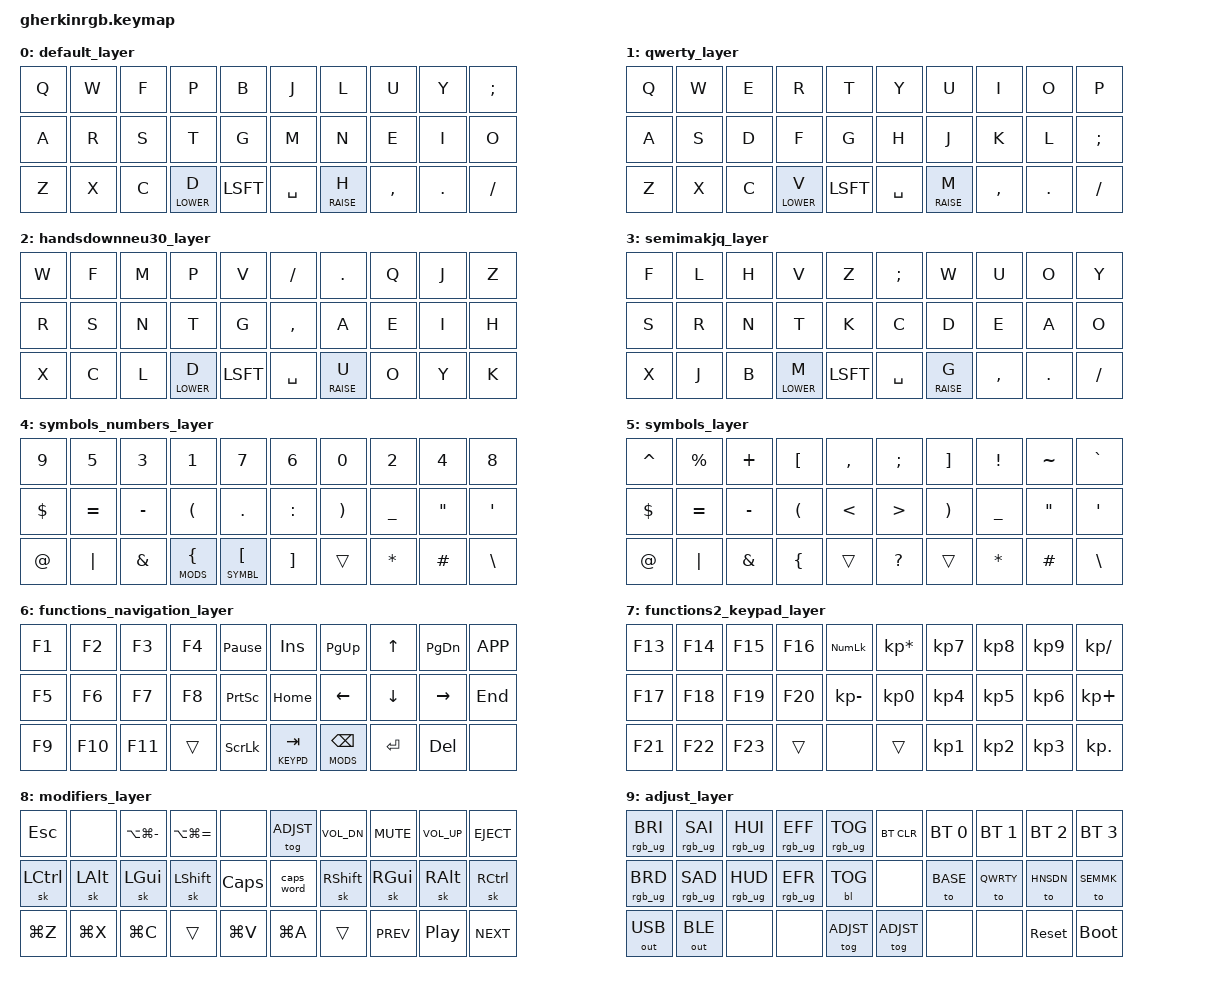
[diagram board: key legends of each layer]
/*
 * Copyright (c) 2021-22 purple-rw
 *
 * SPDX-License-Identifier: MIT
 */

#include <behaviors.dtsi>
#include <dt-bindings/zmk/keys.h>
#include <dt-bindings/zmk/bt.h>
#include <dt-bindings/zmk/outputs.h>
#include <dt-bindings/zmk/rgb.h>
#include <dt-bindings/zmk/backlight.h>

#define BASE  0     // alphas (Colemak-DH)
#define QWRTY 1     // alphas (Qwerty)
#define HNSDN 2     // alphas (Hands Down Neu 30)
#define SEMMK 3     // alphas (Semimak JQ)
#define RAISE 4     // symbols & numbers
#define SYMBL 5     // symbols
#define LOWER 6     // functions & navigation
#define KEYPD 7     // functions2 & keypad
#define MODS  8     // modifiers & multimedia
#define ADJST 9     // lighting & bluetooth

// Special keys
#define ZOOMOUT      LA(LG(MINUS))
#define ZOOMIN       LA(LG(EQUAL))
#define M_UNDO       LG(Z)
#define M_CUT        LG(X)
#define M_COPY       LG(C)
#define M_PASTE      LG(V)
#define M_SELALL     LG(A)
#define M_TMUX       LC(T)
#define NON_US_TILDE LS(NON_US_HASH)
#define NON_US_PIPE  LS(NON_US_BSLH)

&lt {
    tapping-term-ms = <200>;
    quick_tap_ms = <200>;
    flavor = "balanced";
};

&sk {
    release-after-ms = <3000>;
};

&caps_word {
    continue-list = <UNDERSCORE BACKSPACE DELETE MINUS DOT>;
};

/ {
    behaviors {
        combos {
            compatible = "zmk,combos";

// Layers (Horizontal Combos)
// -------------------------------------------------------------
// |     |     |     |     |     |     |     |     |     |     |
// |     |     |     |     |     |     |     |     |     |     |
// |     |     |     |Keypd|Symbl|Keypd|Symbl|     |     |     |
// -------------------------------------------------------------
            combo_symbl { timeout-ms = <50>; key-positions = <24 26>; bindings = <&mo SYMBL>; layers = <BASE QWRTY HNSDN SEMMK>; };
            combo_keypd { timeout-ms = <50>; key-positions = <23 25>; bindings = <&mo KEYPD>; layers = <BASE QWRTY HNSDN SEMMK>; };

// Colemak (Horizontal Combos)
// -------------------------------------------------------------
// |     |<-  Esc  ->|     |     |     |     |<- BkSpc ->|     |
// |     |     |     |<-   V   ->|<-   K   ->|     |     |     |
// |     |<-  Tab  ->|     |     |     |     |<- Enter ->|     |
// -------------------------------------------------------------
            combo_esc   { timeout-ms = <50>; key-positions = < 1  2>; bindings = <&kp ESC>;   layers = <BASE QWRTY HNSDN SEMMK>; };
            combo_tab   { timeout-ms = <50>; key-positions = <21 22>; bindings = <&kp TAB>;   layers = <BASE QWRTY HNSDN SEMMK>; };
            combo_bspc  { timeout-ms = <50>; key-positions = < 7  8>; bindings = <&kp BSPC>;  layers = <BASE QWRTY HNSDN SEMMK>; };
            combo_enter { timeout-ms = <50>; key-positions = <27 28>; bindings = <&kp ENTER>; layers = <BASE QWRTY HNSDN SEMMK>; };
            combo_v     { timeout-ms = <50>; key-positions = <13 14>; bindings = <&kp V>;     layers = <BASE>; };
            combo_k     { timeout-ms = <50>; key-positions = <15 16>; bindings = <&kp K>;     layers = <BASE>; };

// Qwerty (Horizontal Combos)
// -------------------------------------------------------------
// |     |<-  Esc  ->|     |     |     |     |<- BkSpc ->|     |
// |     |     |     |<-   B   ->|<-   N   ->|     |     |     |
// |     |<-  Tab  ->|     |     |     |     |<- Enter ->|     |
// -------------------------------------------------------------
            combo_b     { timeout-ms = <50>; key-positions = <13 14>; bindings = <&kp B>;     layers = <QWRTY HNSDN>; };
            combo_n     { timeout-ms = <50>; key-positions = <15 16>; bindings = <&kp N>;     layers = <QWRTY>; };

// Hands Down Neu 30 (Horizontal Combos)
// -------------------------------------------------------------
// |     |<-  Esc  ->|     |     |     |     |<- Bkspc ->|     |
// |     |     |     |<-   B   ->|<-   ;   ->|     |     |     |
// |     |<-  Tab  ->|     |     |     |     |<- Enter ->|     |
// -------------------------------------------------------------
            combo_semi  { timeout-ms = <50>; key-positions = <15 16>; bindings = <&kp SEMI>;  layers = <HNSDN>; };

// Semimak JQ (Horizontal Combos)
// -------------------------------------------------------------
// |     |<-  Esc  ->|     |     |     |     |<- Bkspc ->|     |
// |     |     |     |<-   Q   ->|<-   P   ->|     |     |     |
// |     |<-  Tab  ->|     |     |     |     |<- Enter ->|     |
// -------------------------------------------------------------
            combo_q     { timeout-ms = <50>; key-positions = <13 14>; bindings = <&kp Q>;     layers = <SEMMK>; };
            combo_p     { timeout-ms = <50>; key-positions = <15 16>; bindings = <&kp P>;     layers = <SEMMK>; };

// Symbols & Numbers (Horizontal Combos)
// -------------------------------------------------------------
// |     |     |     |     |     |     |     |     |     |     |
// |     |     |     |<-   {   ->|<-   }   ->|     |     |     |
// |     |     |     |     |     |     | *** |     |     |     |
// -------------------------------------------------------------
            combo_lbrc  { timeout-ms = <50>; key-positions = <13 14>; bindings = <&kp LBRC>;  layers = <RAISE>; };
            combo_rbrc  { timeout-ms = <50>; key-positions = <15 16>; bindings = <&kp RBRC>;  layers = <RAISE>; };

// Symbols (Horizontal Combos)
// -------------------------------------------------------------
// |     |     |     |     |     |     |     |     |     |     |
// |     |     |     |<-   /   ->|<-   ?   ->|     |     |     |
// |     |     |     |     | *** |     | *** |     |     |     |
// -------------------------------------------------------------
            combo_fslh  { timeout-ms = <50>; key-positions = <13 14>; bindings = <&kp FSLH>;  layers = <SYMBL>; };
            combo_qmark { timeout-ms = <50>; key-positions = <15 16>; bindings = <&kp QMARK>; layers = <SYMBL>; };

// Functions & Numbers (Horizontal Combos)
// -------------------------------------------------------------
// |     |     |     |     |     |     |     |     |     |     |
// |     |     |     |<-  F12  ->|<-  Tab  ->|     |     |     |
// |     |     |     | *** |     |     |     |     |     |     |
// -------------------------------------------------------------
            combo_f12   { timeout-ms = <50>; key-positions = <13 14>; bindings = <&kp F12>;   layers = <LOWER>; };
            combo_tab2  { timeout-ms = <50>; key-positions = <15 16>; bindings = <&kp TAB>;   layers = <LOWER>; };

// Functions & Keypad (Horizontal Combos)
// -------------------------------------------------------------
// |     |     |     |     |     |<-   =   ->|     |     |     |
// |     |     |     |<-  F24  ->|<-   -   ->|     |     |     |
// |     |     |     | *** |     | *** |     |<- Enter ->|     |
// -------------------------------------------------------------
            combo_f24   { timeout-ms = <50>; key-positions = <13 14>; bindings = <&kp F24>;       layers = <KEYPD>; };
            combo_kpeql { timeout-ms = <50>; key-positions = < 5  6>; bindings = <&kp KP_EQUAL>;  layers = <KEYPD>; };
            combo_kpmin { timeout-ms = <50>; key-positions = <15 16>; bindings = <&kp KP_MINUS>;  layers = <KEYPD>; };
            combo_kpent { timeout-ms = <50>; key-positions = <27 28>; bindings = <&kp KP_ENTER>;  layers = <KEYPD>; };

// Bluetooth & RGB (Horizontal Combos)
// -------------------------------------------------------------
// |<- Disp+ ->|     |     |     |     |    BT4   BT5   BT6    |
// |<- Disp- ->|     |     |     |     |     |     |     |     |
// |     |     |     |     |     |     |     |     |     |     |
// -------------------------------------------------------------
            combo_bt4   { timeout-ms = <50>; key-positions = < 6  7>; bindings = <&bt BT_SEL 4>;  layers = <ADJST>; };
            combo_bt5   { timeout-ms = <50>; key-positions = < 7  8>; bindings = <&bt BT_SEL 5>;  layers = <ADJST>; };
            combo_bt6   { timeout-ms = <50>; key-positions = < 8  9>; bindings = <&bt BT_SEL 6>;  layers = <ADJST>; };

            combo_dpinc { timeout-ms = <50>; key-positions = < 1  2>; bindings = <&kp C_BRI_INC>; layers = <ADJST>; };
            combo_dpdec { timeout-ms = <50>; key-positions = <11 12>; bindings = <&kp C_BRI_DEC>; layers = <ADJST>; };
        };
    };

    keymap {
        compatible = "zmk,keymap";

        default_layer {
// (Hold)
// -------------------------------------------------------------
// |     |     |     |     |     |     |     |     |     |     |
// |     |     |     |     |     |     |     |     |     |     |
// |     |     |     |LOWER|     |     |RAISE|     |     |     |
// -------------------------------------------------------------
// Colemak-DH
// -------------------------------------------------------------
// |  Q  |  W  |  F  |  P  |  B  |  J  |  L  |  U  |  Y  |  ;  |
// |  A  |  R  |  S  |  T  |  G  |  M  |  N  |  E  |  I  |  O  |
// |  Z  |  X  |  C  |  D  |LSft |Space|  H  |  ,  |  .  |  /  |
// -------------------------------------------------------------
            bindings = < 
    &kp Q       &kp W       &kp F       &kp P       &kp B         &kp J           &kp L       &kp U       &kp Y       &kp SEMI
    &kp A       &kp R       &kp S       &kp T       &kp G         &kp M           &kp N       &kp E       &kp I       &kp O
    &kp Z       &kp X       &kp C       &lt LOWER D &kp LSFT      &kp SPACE       &lt RAISE H &kp COMMA   &kp DOT     &kp FSLH
            >;
        } ;

        qwerty_layer {
// Qwerty
// -------------------------------------------------------------
// |  Q  |  W  |  E  |  R  |  T  |  Y  |  U  |  I  |  O  |  P  |
// |  A  |  S  |  D  |  F  |  G  |  H  |  J  |  K  |  L  |  ;  |
// |  Z  |  X  |  C  |  V  |LSft |Space|  M  |  ,  |  .  |  /  |
// -------------------------------------------------------------
            bindings = < 
    &kp Q       &kp W       &kp E       &kp R       &kp T         &kp Y           &kp U       &kp I       &kp O       &kp P
    &kp A       &kp S       &kp D       &kp F       &kp G         &kp H           &kp J       &kp K       &kp L       &kp SEMI
    &kp Z       &kp X       &kp C       &lt LOWER V &kp LSFT      &kp SPACE       &lt RAISE M &kp COMMA   &kp DOT     &kp FSLH
            >;
        } ;

        handsdownneu30_layer {
// Hands Down Neu 30
// -------------------------------------------------------------
// |  W  |  F  |  M  |  P  |  V  |  /  |  .  |  Q  |  J  |  Z  |
// |  R  |  S  |  N  |  T  |  G  |  ,  |  A  |  E  |  I  |  H  |
// |  X  |  C  |  L  |  D  |LSft |Space|  U  |  O  |  Y  |  K  |
// -------------------------------------------------------------
            bindings = < 
    &kp W       &kp F       &kp M       &kp P       &kp V         &kp FSLH        &kp DOT     &kp Q       &kp J       &kp Z
    &kp R       &kp S       &kp N       &kp T       &kp G         &kp COMMA       &kp A       &kp E       &kp I       &kp H
    &kp X       &kp C       &kp L       &lt LOWER D &kp LSFT      &kp SPACE       &lt RAISE U &kp O       &kp Y       &kp K
            >;
        } ;

        semimakjq_layer {
// Semimak JQ
// -------------------------------------------------------------
// |  F  |  L  |  H  |  V  |  Z  |  ;  |  W  |  U  |  O  |  Y  |
// |  S  |  R  |  N  |  T  |  K  |  C  |  D  |  E  |  A  |  I  |
// |  X  |  J  |  B  |  M  |LSft |Space|  G  |  ,  |  .  |  /  |
// -------------------------------------------------------------
            bindings = < 
    &kp F       &kp L       &kp H       &kp V       &kp Z         &kp SEMI        &kp W       &kp U       &kp O       &kp Y
    &kp S       &kp R       &kp N       &kp T       &kp K         &kp C           &kp D       &kp E       &kp A       &kp O
    &kp X       &kp J       &kp B       &lt LOWER M &kp LSFT      &kp SPACE       &lt RAISE G &kp COMMA   &kp DOT     &kp FSLH
            >;
        } ;

        symbols_numbers_layer {
// symbols & numbers
// -------------------------------------------------------------
// |  9  |  5  |  3  |  1  |  7  |  6  |  0  |  2  |  4  |  8  |
// |  $  |  =  |  -  |  (  |  .  |  :  |  )  |  _  |  "  |  '  |
// |  @  |  |  |  &  |  {  |  [  |  ]  | *** |  *  |  #  |  \  |
// -------------------------------------------------------------
            bindings = <
    &kp N9      &kp N5      &kp N3      &kp N1          &kp N7          &kp N6      &kp N0      &kp N2      &kp N4      &kp N8
    &kp DLLR    &kp EQUAL   &kp MINUS   &kp LPAR        &kp DOT         &kp COLON   &kp RPAR    &kp UNDER   &kp DQT     &kp SQT
    &kp AT      &kp PIPE    &kp AMPS    &lt MODS LBRC   &lt SYMBL LBKT  &kp RBKT    &trans      &kp STAR    &kp HASH    &kp BSLH
            >;
        };

        symbols_layer {
// symbols
// -------------------------------------------------------------
// |  ^  |  %  |  +  |  [  |  ,  |  ;  |  ]  |  !  |  ~  |  `  |
// |  $  |  =  |  -  |  (  |  <  |  >  |  )  |  _  |  "  |  '  |
// |  @  |  |  |  &  |  {  | *** |  ?  | *** |  *  |  #  |  \  |
// -------------------------------------------------------------
            bindings = <
    &kp CARET   &kp PRCNT   &kp PLUS    &kp LBKT    &kp COMMA   &kp SEMI    &kp RBKT    &kp EXCL    &kp TILDE   &kp GRAVE
    &kp DLLR    &kp EQUAL   &kp MINUS   &kp LPAR    &kp LT      &kp GT      &kp RPAR    &kp UNDER   &kp DQT     &kp SQT
    &kp AT      &kp PIPE    &kp AMPS    &kp LBRC    &trans      &kp QMARK   &trans      &kp STAR    &kp HASH    &kp BSLH
            >;
        };

        functions_navigation_layer {
// functions & navigation
// -------------------------------------------------------------
// | F1  | F2  | F3  | F4  |Pause| Ins |PgUp | Up  |PgDn |Menu |
// | F5  | F6  | F7  | F8  |PrnSc|Home |Left |Down |Right| End |
// | F9  | F10 | F11 | *** |ScrLk| Tab |BkSpc|Enter| Del |     |
// -------------------------------------------------------------
            bindings = <
    &kp F1      &kp F2      &kp F3      &kp F4      &kp PAUSE_BREAK &kp INS       &kp PG_UP     &kp UP      &kp PG_DN   &kp K_APP
    &kp F5      &kp F6      &kp F7      &kp F8      &kp PSCRN       &kp HOME      &kp LEFT      &kp DOWN    &kp RIGHT   &kp END
    &kp F9      &kp F10     &kp F11     &trans      &kp SLCK        &lt KEYPD TAB &lt MODS BSPC &kp ENTER   &kp DEL     &none
            >;
        };

        functions2_keypad_layer {
// functions & keypad
// -------------------------------------------------------------
// | F13 | F14 | F15 | F16 |NumLk|  *  |  7  |  8  |  9  |  /  |
// | F17 | F18 | F19 | F20 |  -  |  0  |  4  |  5  |  6  |  +  |
// | F21 | F22 | F23 | *** |     | *** |  1  |  2  |  3  |  .  |
// -------------------------------------------------------------
            bindings = <
    &kp F13     &kp F14     &kp F15     &kp F16     &kp KP_NUM    &kp KP_MULTIPLY &kp KP_N7     &kp KP_N8   &kp KP_N9   &kp KP_DIVIDE
    &kp F17     &kp F18     &kp F19     &kp F20     &kp KP_MINUS  &kp KP_N0       &kp KP_N4     &kp KP_N5   &kp KP_N6   &kp KP_PLUS
    &kp F21     &kp F22     &kp F23     &trans      &none         &trans          &kp KP_N1     &kp KP_N2   &kp KP_N3   &kp KP_DOT
            >;
        };

        modifiers_layer {
// -------------------------------------------------------------
// | Esc |     |Zoom-|Zoom+|Mouse|Adjst|Vol- |Mute |Vol+ |Eject|
// |Ctrl | Alt | Cmd |Shift|CapLk|CapWd|Shift| Cmd | Alt |Ctrl |
// |Undo | Cut |Copy | *** |Paste|SelAl| *** |Prev |Play |Next |
// -------------------------------------------------------------
            bindings = <
    &kp ESC     &none       &kp ZOOMOUT &kp ZOOMIN  &none       &tog ADJST    &kp C_VOL_DN  &kp C_MUTE    &kp C_VOL_UP  &kp C_EJECT
    &sk LCTRL   &sk LALT    &sk LGUI    &sk LSHFT   &kp CAPS    &caps_word    &sk RSHFT     &sk RGUI      &sk RALT      &sk RCTRL
    &kp M_UNDO  &kp M_CUT   &kp M_COPY  &trans      &kp M_PASTE &kp M_SELALL  &trans        &kp C_PREV    &kp C_PP      &kp C_NEXT
            >;
        };

        adjust_layer {
/*
// -------------------------------------------------------------
// |Bri+ |     |     |     |Toggl|BTClr| BT0 | BT1 | BT2 | BT3 |
// |Bri- |     |     |     |     |     |Colmk|Qwrty|HnsDn|Semmk|
// | USB | BLE |     |     |  x  |  x  |     |     |Reset|BootL|
// -------------------------------------------------------------
            bindings = <
    &bl BL_INC    &none         &none   &none   &bl BL_TOG  &bt BT_CLR  &bt BT_SEL 0  &bt BT_SEL 1  &bt BT_SEL 2  &bt BT_SEL 3
    &bl BL_DEC    &none         &none   &none   &none       &none       &to BASE      &to QWRTY     &to HNSDN     &to SEMMK
    &out OUT_USB  &out OUT_BLE  &none   &none   &tog ADJST  &tog ADJST  &none         &none         &sys_reset    &bootloader
            >;
*/
//  v----------- RGB -----------v
// -------------------------------------------------------------
// |Bri+ |Sat+ |Hue+ |Ani+ |Toggl|BTClr| BT0 | BT1 | BT2 | BT3 |
// |Bri- |Sat- |Hue- |Ani- |BLtog|     |Colmk|Qwrty|HnsDn|Semmk|
// | USB | BLE |     |     |  x  |  x  |     |     |Reset|BootL|
// -------------------------------------------------------------
            bindings = <
    &rgb_ug RGB_BRI &rgb_ug RGB_SAI &rgb_ug RGB_HUI &rgb_ug RGB_EFF &rgb_ug RGB_TOG &bt BT_CLR &bt BT_SEL 0 &bt BT_SEL 1 &bt BT_SEL 2 &bt BT_SEL 3
    &rgb_ug RGB_BRD &rgb_ug RGB_SAD &rgb_ug RGB_HUD &rgb_ug RGB_EFR &bl BL_TOG      &none      &to BASE     &to QWRTY    &to HNSDN    &to SEMMK
    &out OUT_USB    &out OUT_BLE    &none           &none           &tog ADJST      &tog ADJST &none        &none        &sys_reset   &bootloader
            >;
        };
    };
};
